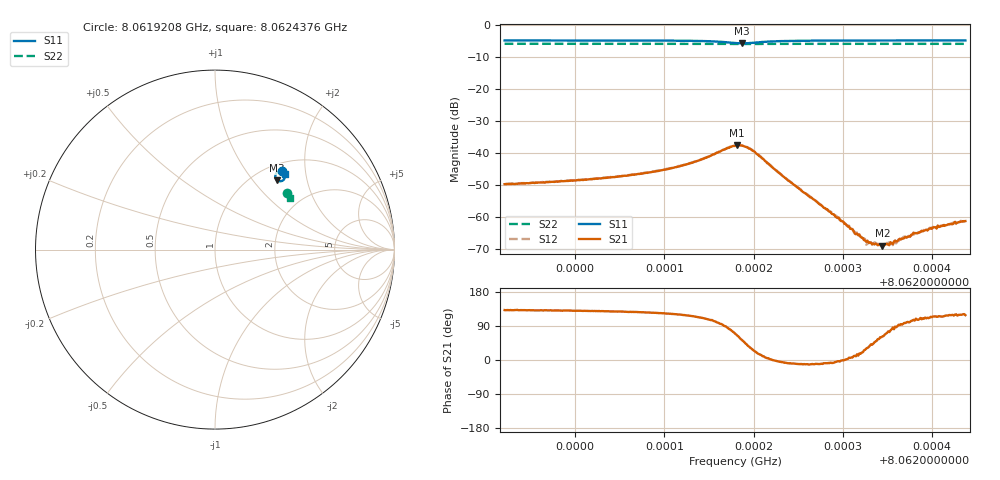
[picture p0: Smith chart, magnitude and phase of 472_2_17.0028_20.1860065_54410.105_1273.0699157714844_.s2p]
#  HZ  S  RI  R  50.00
! Rohde & Schwarz Vector Network Analyzer
! Rohde-Schwarz,ZNB20-2Port,1311601062101988,3.16
! Created: UTC 3/20/2024, 11:13:13 PM
! freq[Hz]  re:S11  im:S11  re:S21  im:S21  re:S12  im:S12  re:S22  im:S22
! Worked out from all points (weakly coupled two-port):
!   401 points, 8.0619208 GHz to 8.0624376 GHz, reference 50 ohm
!   highest |S21| = -37.60 dB at 8.0621818 GHz (marker M1); lowest = -69.0 dB at 8.0623446 GHz (marker M2)
!   lowest |S11| = -5.7 dB at 8.062187 GHz (marker M3), VSWR 3.16, Z = 63.3 + j67 ohm
!   |S11| at or under -10 dB: nowhere
!   |S22| runs from -5.9 to -5.8 dB; largest |S21 - S12| = 0.001
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8.06192083e9  0.372 0.44  -0.00217 0.00242  -0.00202 0.00254  0.4008 0.3158
8.06200738e9  0.3785 0.434  -0.00243 0.00292  -0.00226 0.00307  0.4042 0.3116
8.06205389e9  0.3822 0.4294  -0.00267 0.00347  -0.00245 0.00365  0.4059 0.309
8.06209394e9  0.3863 0.4236  -0.00292 0.00438  -0.00265 0.00458  0.4073 0.3069
8.06213269e9  0.3901 0.4126  -0.00308 0.00649  -0.00267 0.00673  0.4088 0.3045
8.0621792e9  0.362 0.3808  0.00443 0.0121  0.00521 0.012  0.4086 0.3013
8.06218178e9  0.3566 0.3816  0.00571 0.0119  0.00639 0.0117  0.4085 0.3014
8.06218695e9  0.3462 0.3867  0.00784 0.0104  0.00861 0.0101  0.4082 0.3015
8.06219987e9  0.336 0.4109  0.00964 0.00462  0.00999 0.00413  0.4087 0.302
8.06223604e9  0.3604 0.4353  0.00396 -0.000508  0.00399 -0.000762  0.4111 0.301
8.06226576e9  0.3713 0.4346  0.00192 -0.000358  0.0019 -0.000497  0.4126 0.2994
8.06230839e9  0.3794 0.4313  0.000646 6.31e-05  0.000666 2.33e-05  0.4144 0.2973
8.06231485e9  0.3803 0.4308  0.000528 9.16e-05  0.000538 9.68e-05  0.4145 0.2968
8.06232777e9  0.3819 0.4299  0.00036 0.000225  0.000355 0.00015  0.4152 0.2961
8.06233552e9  0.3828 0.4293  0.000255 0.000269  0.000298 0.000267  0.4155 0.2956
8.06234456e9  0.3838 0.4286  0.000165 0.000315  0.000171 0.00031  0.4158 0.2951
8.06235231e9  0.3845 0.4281  0.000101 0.000346  9.45e-05 0.000393  0.416 0.2947
8.06235748e9  0.3849 0.4278  6.3e-05 0.000408  4.44e-05 0.0004  0.416 0.2945
8.06236652e9  0.3859 0.4271  -2.86e-05 0.000459  -2.08e-05 0.000451  0.4166 0.2941
8.06237944e9  0.3871 0.4263  -0.000158 0.000547  -9.92e-05 0.00052  0.417 0.2932
8.06240011e9  0.3887 0.4249  -0.000255 0.000599  -0.00025 0.000637  0.4176 0.2923
8.06243758e9  0.3916 0.4227  -0.000408 0.000757  -0.000392 0.000773  0.419 0.2902
